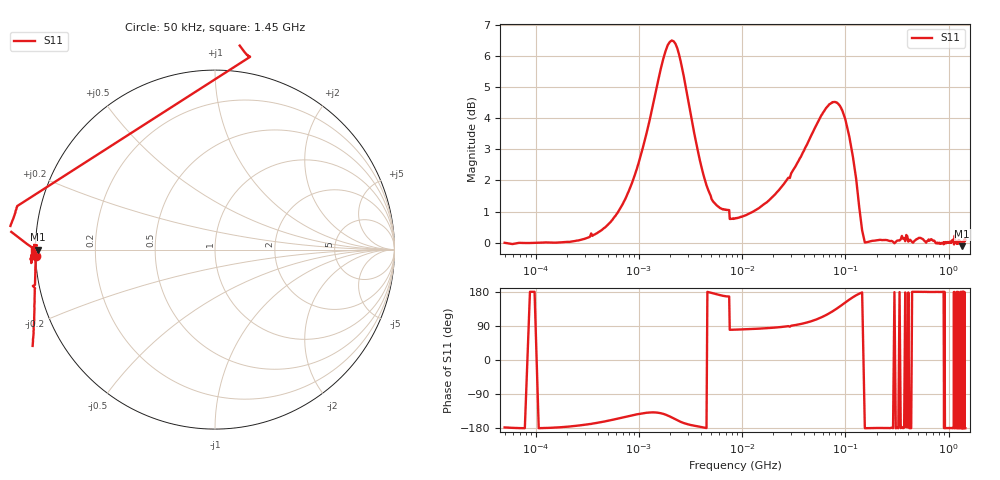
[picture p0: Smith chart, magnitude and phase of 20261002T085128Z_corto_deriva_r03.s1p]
! piloto_deriva / corto_deriva / r03
# HZ S RI R 50
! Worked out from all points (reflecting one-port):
!   501 points, 50 kHz to 1.45 GHz, reference 50 ohm
!   lowest |S11| = -0.1 dB at 1.351 GHz (marker M1), VSWR 154.03, Z = 0.325 - j0.0272 ohm
!   phase of S11 starts at -178 deg and turns -2 deg over the sweep
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50000  -0.9989 -0.037
183000  -1 -0.0516
363500  -1.005 -0.2232
658000  -1.014 -0.5102
1180000  -1.133 -0.9747
1630000  -1.469 -1.212
1990000  -1.801 -1.083
2170000  -1.897 -0.9148
2440000  -1.901 -0.6488
3070000  -1.635 -0.2688
4330000  -1.264 -0.0307
7300000  -1.102 0.2427
7750000  0.1945 1.075
8560000  0.1871 1.077
1.99e7  0.1007 1.183
3.16e7  -0.0347 1.313
4.69e7  -0.324 1.454
6.76e7  -0.8599 1.418
8.02e7  -1.157 1.219
9.46e7  -1.363 0.8767
9.82e7  -1.383 0.7848
1e8  -1.391 0.7385
1.18e8  -1.331 0.3415
1.36e8  -1.135 0.0988
1.63e8  -1.002 -0.00336
4.06e8  -1.003 0.0301
1.351e9  -0.9871 -0.00107
1.45e9  -1.01 -0.00167
